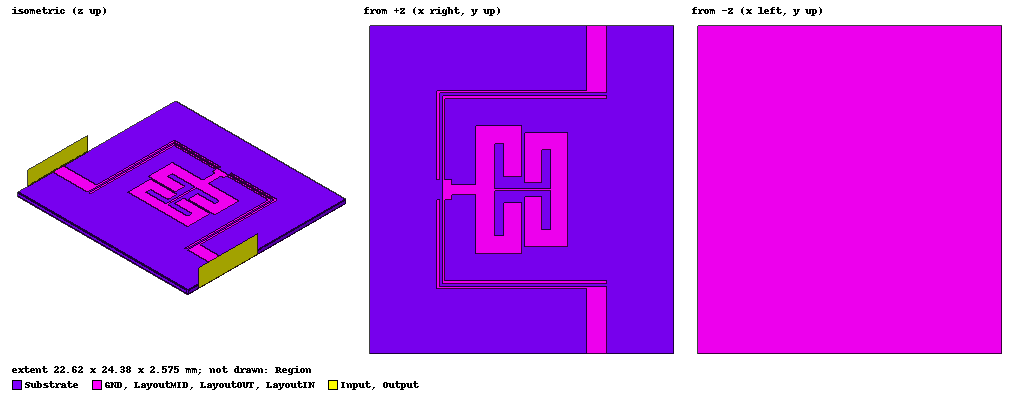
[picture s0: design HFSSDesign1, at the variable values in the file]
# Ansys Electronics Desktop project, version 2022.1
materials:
  vacuum: permittivity=1
  Rogers RO4350 (tm): permittivity=3.66 dielectric_loss_tangent=0.004
  copper: permeability=0.999991 conductivity=58000000
  pec: conductivity=1e+30

design HFSSDesign1 (HFSS, DrivenTerminal, model units mm)
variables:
  S1 = 0.22mm
  W5 = 0.2mm
  L10 = 6mm
  L11 = 1.54mm
  L9 = 12mm
  T = 0.508mm
  PortW = 1.5mm
  PortL = 5mm
  MarginX = 5mm
  W6 = 0.69mm
  W1 = 0.78mm
  L1 = 1.8mm
  W2 = 1.36mm
  L2 = 4.36mm
  L3 = 3.41mm
  L4 = 3.81mm
  W3 = 0.2mm
  L5 = 4.2mm
  W4 = 1.26mm
  L8 = 4.26mm
  L7 = 3.21mm
  L6 = 3.76mm
  MarginY = 10mm
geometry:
  Substrate [Rogers RO4350 (tm)] = box(corner=(0mm, 0mm, 0mm), size=(L9+S1+2*W5+10mm, 2*(S1+W5+L10)+L11+10mm, 0.508mm))
  Rectangle1 = rectangle(corner=(L9+S1+2*W5+MarginX, 0mm, T), x_size=-1.5mm, y_size=5mm)
  LayoutOUT [pec] = rectangle(corner=(L9+S1+2*W5+5mm, 2*(S1+W5+L10)+L11+10mm, T), x_size=-1.5mm, y_size=-5mm)
  LayoutIN [pec] = rectangle(corner=(2*W5+S1+L9-PortW+MarginX, PortL, T), x_size=-(W5+S1+L9-PortW), y_size=-W5)
  Rectangle4 = rectangle(corner=(2*W5+S1+L9-PortW+MarginX, 2*(S1+W5+L10)+L11+PortL, T), x_size=-(W5+S1+L9-PortW), y_size=W5)
  Rectangle5 = rectangle(corner=(MarginX+W5, PortL-W5, T), x_size=-W5, y_size=L10+2*W5+S1)
  Rectangle6 = rectangle(corner=(MarginX+W5, 2*(S1+W5+L10)+L11+PortL+W5, T), x_size=-0.2mm, y_size=-(L10+2*W5+S1))
  Rectangle7 = rectangle(corner=(L9+S1+2*W5+MarginX, PortL+S1, T), x_size=-L9, y_size=W5)
  Rectangle8 = rectangle(corner=(MarginX+S1+2*W5, PortL+S1, T), x_size=-W5, y_size=L10+W5)
  Rectangle9 = rectangle(corner=(L9+S1+2*W5+MarginX, PortL+2*(S1+W5+L10)+L11-S1, T), x_size=-L9, y_size=-W5)
  LayoutMID [pec] = rectangle(corner=(MarginX+S1+2*W5, PortL+2*(S1+W5+L10)+L11-S1, T), x_size=-W5, y_size=-(L10+W5))
  Rectangle11 = rectangle(corner=(MarginX+S1+W5, PortL+S1+L10+W5, T), x_size=W6, y_size=L11)
  Rectangle12 = rectangle(corner=(MarginX+S1+W5+W6, PortL+S1+L10+W5+(L11-W1)/2, T), x_size=L1, y_size=W1)
  Rectangle13 = rectangle(corner=(MarginX+S1+W5+W6+L1, PortL+S1+L10+W5+(L11-W1)/2, T), x_size=W2, y_size=-L2)
  Rectangle14 = rectangle(corner=(MarginX+S1+W5+W6+L1, W1+PortL+S1+L10+W5+(L11-W1)/2, T), x_size=W2, y_size=L2)
  Rectangle15 = rectangle(corner=(MarginX+S1+W5+W6+L1, PortL+S1+L10+W5+(L11-W1)/2, T), x_size=W2, y_size=W1)
  Rectangle16 = rectangle(corner=(MarginX+S1+W5+W6+L1, PortL+S1+L10-L2+W5+(L11-W1)/2, T), x_size=L3, y_size=W2)
  Rectangle17 = rectangle(corner=(MarginX+S1+W5+W6+L1, W1+PortL+S1+L10+W5+(L11-W1)/2+L2, T), x_size=L3, y_size=-W2)
  Rectangle18 = rectangle(corner=(MarginX+S1+W5+W6+L1+L3, PortL+S1+L10-L2+W5+(L11-W1)/2, T), x_size=-W2, y_size=L4)
  Rectangle19 = rectangle(corner=(MarginX+S1+W5+W6+L1+L3, W1+PortL+S1+L10+W5+(L11-W1)/2+L2, T), x_size=-W2, y_size=-L4)
  Rectangle20 = rectangle(corner=(MarginX+S1+W5+W6+L1+W2, PortL+S1+L10+W5+(L11-W1)/2+(W1-W3)/2, T), x_size=L5, y_size=W3)
  Rectangle21 = rectangle(corner=(MarginX+S1+W5+W6+L1+W2+L5, PortL+S1+L10+W5+(L11-W1)/2+W1/2, T), x_size=W4, y_size=-L8)
  Rectangle22 = rectangle(corner=(MarginX+S1+W5+W6+L1+W2+L5, PortL+S1+L10+W5+(L11-W1)/2+W1/2, T), x_size=W4, y_size=L8)
  Rectangle23 = rectangle(corner=(MarginX+S1+W5+W6+L1+W2+L5+W4, PortL+S1+L10+W5+(L11-W1)/2+W1/2-L8, T), x_size=-L7, y_size=W4)
  Rectangle24 = rectangle(corner=(MarginX+S1+W5+W6+L1+W2+L5+W4-L7, PortL+S1+L10+W5+(L11-W1)/2+W1/2-L8, T), x_size=W4, y_size=L6)
  Rectangle25 = rectangle(corner=(MarginX+S1+W5+W6+L1+W2+L5+W4, PortL+S1+L10+W5+(L11-W1)/2+W1/2+L8, T), x_size=-L7, y_size=-W4)
  Rectangle26 = rectangle(corner=(MarginX+S1+W5+W6+L1+W2+L5+W4-L7, PortL+S1+L10+W5+(L11-W1)/2+W1/2+L8, T), x_size=W4, y_size=-L6)
  LayoutOUT.unite(Rectangle4, Rectangle6)
  LayoutOUT.thicken(0.035mm)
  LayoutIN.unite(Rectangle1, Rectangle5)
  LayoutIN.thicken(0.035mm)
  LayoutMID.unite(Rectangle11, Rectangle8, Rectangle7, Rectangle12, Rectangle9, Rectangle17, Rectangle14, Rectangle15, Rectangle13, Rectangle18, Rectangle16, Rectangle20, Rectangle19, Rectangle26, Rectangle25, Rectangle22, Rectangle21, Rectangle23, Rectangle24)
  LayoutMID.thicken(0.035mm)
  GND [pec] = rectangle(corner=(0mm, 0mm, 0mm), x_size=22.62mm, y_size=24.38mm)
  GND.thicken(-0.035mm)
  Input = rectangle(corner=(2*W5+S1+L9, 0mm, 0mm), z_size=5*T, x_size=8.5mm)
  Output = rectangle(corner=(2*W5+S1+L9, 24.38mm, 0mm), z_size=5*T, x_size=8.5mm)
  Region [vacuum] = region(absolute_offset: +X=0mm, -X=0mm, +Y=0mm, -Y=0mm, +Z=30mm, -Z=0mm)
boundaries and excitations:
  GND: Perfect E Objects=GND
  Rad: Radiation Objects=Region
  LayoutIN_T1: Terminal port=1 Faces=LayoutIN.face(at (16.87, 0, 0.5255)) TerminalResistance=50ohm
  LayoutOUT_T1: Terminal port=2 Faces=LayoutOUT.face(at (16.87, 24.38, 0.5255)) TerminalResistance=50ohm
  1: Wave Port Faces=Input.face NumModes=1
  2: Wave Port Faces=Output.face NumModes=1
  reference conductors: GND
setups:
  Setup1: HfssDriven Frequency=2.5GHz MaxDeltaS=0.02 MaximumPasses=6 MinimumPasses=1 MinimumConvergedPasses=1 PercentRefinement=30 BasisOrder=1 PortAccuracy=2 DrivenSolverType="Direct Solver"
    sweep Sweep: 1GHz to 5GHz, 800 points; Type=Interpolating InterpTolerance=0.5 InterpMaxSolns=250 PassivityErrorTolerance=0.0001
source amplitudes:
  1:1: 1V 0deg
  2:1: 0V 0deg
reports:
  Terminal S Parameter Plot 1: dB(St(LayoutIN_T1,LayoutIN_T1)), dB(St(LayoutOUT_T1,LayoutIN_T1)) vs Freq on Setup1 : Sweep
